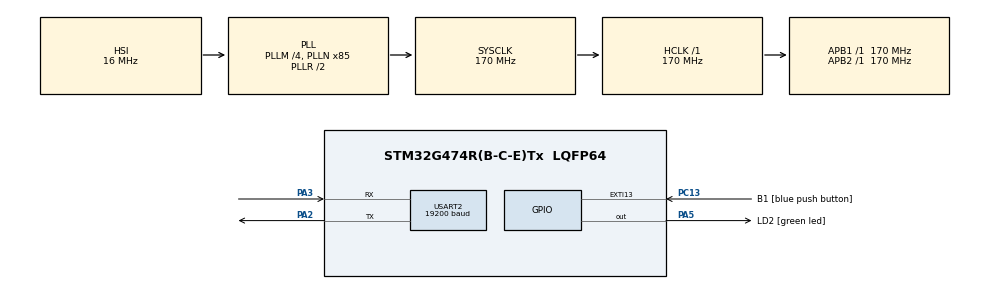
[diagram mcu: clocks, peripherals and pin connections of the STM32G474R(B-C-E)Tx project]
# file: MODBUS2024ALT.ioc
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Dma.Request0=USART2_TX
Dma.Request1=USART2_RX
Dma.USART2_RX.1.Direction=DMA_PERIPH_TO_MEMORY
Dma.USART2_RX.1.EventEnable=DISABLE
Dma.USART2_RX.1.Instance=DMA1_Channel2
Dma.USART2_RX.1.MemDataAlignment=DMA_MDATAALIGN_BYTE
Dma.USART2_RX.1.MemInc=DMA_MINC_ENABLE
Dma.USART2_RX.1.Mode=DMA_NORMAL
Dma.USART2_RX.1.PeriphDataAlignment=DMA_PDATAALIGN_BYTE
Dma.USART2_RX.1.PeriphInc=DMA_PINC_DISABLE
Dma.USART2_RX.1.Polarity=HAL_DMAMUX_REQ_GEN_RISING
Dma.USART2_RX.1.Priority=DMA_PRIORITY_LOW
Dma.USART2_RX.1.RequestNumber=1
Dma.USART2_RX.1.SignalID=NONE
Dma.USART2_RX.1.SyncEnable=DISABLE
Dma.USART2_RX.1.SyncPolarity=HAL_DMAMUX_SYNC_NO_EVENT
Dma.USART2_RX.1.SyncRequestNumber=1
Dma.USART2_RX.1.SyncSignalID=NONE
Dma.USART2_TX.0.Direction=DMA_MEMORY_TO_PERIPH
Dma.USART2_TX.0.EventEnable=DISABLE
Dma.USART2_TX.0.Instance=DMA1_Channel1
Dma.USART2_TX.0.MemDataAlignment=DMA_MDATAALIGN_BYTE
Dma.USART2_TX.0.MemInc=DMA_MINC_ENABLE
Dma.USART2_TX.0.Mode=DMA_NORMAL
Dma.USART2_TX.0.PeriphDataAlignment=DMA_PDATAALIGN_BYTE
Dma.USART2_TX.0.PeriphInc=DMA_PINC_DISABLE
Dma.USART2_TX.0.Polarity=HAL_DMAMUX_REQ_GEN_RISING
Dma.USART2_TX.0.Priority=DMA_PRIORITY_LOW
Dma.USART2_TX.0.RequestNumber=1
Dma.USART2_TX.0.SignalID=NONE
Dma.USART2_TX.0.SyncEnable=DISABLE
Dma.USART2_TX.0.SyncPolarity=HAL_DMAMUX_SYNC_NO_EVENT
Dma.USART2_TX.0.SyncRequestNumber=1
Dma.USART2_TX.0.SyncSignalID=NONE
Mcu.Family=STM32G4
Mcu.Name=STM32G474R(B-C-E)Tx
Mcu.Package=LQFP64
NVIC.DMA1_Channel1_IRQn=true\:0\:0\:false\:false\:true\:false\:true\:true
NVIC.DMA1_Channel2_IRQn=true\:0\:0\:false\:false\:true\:false\:true\:true
NVIC.EXTI15_10_IRQn=true\:0\:0\:false\:false\:true\:true\:true\:true
NVIC.PriorityGroup=NVIC_PRIORITYGROUP_4
NVIC.TIM1_UP_TIM16_IRQn=true\:0\:0\:false\:false\:true\:true\:true\:true
NVIC.TIM2_IRQn=true\:0\:0\:false\:false\:true\:true\:true\:true
NVIC.USART2_IRQn=true\:0\:0\:false\:false\:true\:true\:true\:true
PA13.GPIO_Label=T_SWDIO
PA13.Mode=Serial_Wire
PA13.Signal=SYS_JTMS-SWDIO
PA14.GPIO_Label=T_SWCLK
PA14.Mode=Serial_Wire
PA14.Signal=SYS_JTCK-SWCLK
PA2.Mode=Asynchronous
PA2.Signal=USART2_TX
PA3.Mode=Asynchronous
PA3.Signal=USART2_RX
PA5.GPIO_Label=LD2 [green led]
PA5.Signal=GPIO_Output
PB3.GPIO_Label=T_SWO
PB3.Signal=SYS_JTDO-SWO
PC13.GPIO_Label=B1 [blue push button]
PC13.Signal=GPXTI13
PC14-OSC32_IN.Mode=LSE-External-Oscillator
PC14-OSC32_IN.Signal=RCC_OSC32_IN
PC15-OSC32_OUT.Mode=LSE-External-Oscillator
PC15-OSC32_OUT.Signal=RCC_OSC32_OUT
PF0-OSC_IN.Mode=HSE-External-Oscillator
PF0-OSC_IN.Signal=RCC_OSC_IN
PF1-OSC_OUT.Mode=HSE-External-Oscillator
PF1-OSC_OUT.Signal=RCC_OSC_OUT
ProjectManager.HeapSize=0x200
ProjectManager.StackSize=0x400
ProjectManager.TargetToolchain=STM32CubeIDE
RCC.ADC12Freq_Value=170000000
RCC.ADC345Freq_Value=170000000
RCC.AHBFreq_Value=170000000
RCC.APB1Freq_Value=170000000
RCC.APB1TimFreq_Value=170000000
RCC.APB2Freq_Value=170000000
RCC.APB2TimFreq_Value=170000000
RCC.CortexFreq_Value=170000000
RCC.EXTERNAL_CLOCK_VALUE=12288000
RCC.HCLKFreq_Value=170000000
RCC.HSE_VALUE=24000000
RCC.HSI48_VALUE=48000000
RCC.HSI_VALUE=16000000
RCC.PLLM=RCC_PLLM_DIV4
RCC.PLLN=85
RCC.RTCClockSelection=RCC_RTCCLKSOURCE_LSE
RCC.SYSCLKFreq_VALUE=170000000
RCC.SYSCLKSource=RCC_SYSCLKSOURCE_PLLCLK
RCC.USBFreq_Value=170000000
RCC.VCOOutputFreq_Value=340000000
TIM16.PeriodNoDither=1145
TIM16.Prescaler=169
TIM2.PeriodNoDither=2000
TIM2.Prescaler=16999
USART2.BaudRate=19200
USART2.OneBitSampling=UART_ONE_BIT_SAMPLE_DISABLE
USART2.Parity=PARITY_EVEN
USART2.VirtualMode-Asynchronous=VM_ASYNC
USART2.WordLength=WORDLENGTH_9B
VP_SYS_VS_DBSignals.Mode=DisableDeadBatterySignals
VP_TIM16_VS_ClockSourceINT.Mode=Enable_Timer
VP_TIM16_VS_OPM.Mode=OPM_bit
VP_TIM2_VS_ClockSourceINT.Mode=Internal
board=NUCLEO-G474RE

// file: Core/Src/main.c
/* USER CODE BEGIN Header */
/**
  ******************************************************************************
  * @file           : main.c
  * @brief          : Main program body
  ******************************************************************************
  * @attention
  *
  * Copyright (c) 2024 STMicroelectronics.
  * All rights reserved.
  *
  * This software is licensed under terms that can be found in the LICENSE file
  * in the root directory of this software component.
  * If no LICENSE file comes with this software, it is provided AS-IS.
  *
  ******************************************************************************
  */
/* USER CODE END Header */
#include "main.h"

/* USER CODE BEGIN Includes */
#include "ModBusRTU.h"
/* USER CODE END Includes */

TIM_HandleTypeDef htim2;
TIM_HandleTypeDef htim16;

UART_HandleTypeDef huart2;
DMA_HandleTypeDef hdma_usart2_tx;
DMA_HandleTypeDef hdma_usart2_rx;

/* USER CODE BEGIN PV */
ModbusHandleTypedef hmodbus;
u16u8_t registerFrame[200];
float shelvePos[5]; // position for each shelve
float Goal; // setPosition / goalPosition

uint16_t orderPick; // temporary shelve order
uint16_t orderPlace;
uint16_t pick[5]; // shelve order array
uint16_t place[5];

uint8_t j; // jog counter
/* USER CODE END PV */

void SystemClock_Config(void);
static void MX_GPIO_Init(void);
static void MX_DMA_Init(void);
static void MX_USART2_UART_Init(void);
static void MX_TIM16_Init(void);
static void MX_TIM2_Init(void);
/* USER CODE BEGIN PFP */
void RoutineUpdate(void);
void MoveToGoal(void);
/* USER CODE END PFP */

int main(void)
{

  /* MCU Configuration--------------------------------------------------------*/

  /* Reset of all peripherals, Initializes the Flash interface and the Systick. */
  HAL_Init();

  /* Configure the system clock */
  SystemClock_Config();

  /* Initialize all configured peripherals */
  MX_GPIO_Init();
  MX_DMA_Init();
  MX_USART2_UART_Init();
  MX_TIM16_Init();
  MX_TIM2_Init();
  /* USER CODE BEGIN 2 */
  hmodbus.huart = &huart2;
  hmodbus.htim = &htim16;
  hmodbus.slaveAddress = 0x15;
  hmodbus.RegisterSize = 200;
  Modbus_init(&hmodbus, registerFrame);
  HAL_TIM_Base_Start_IT(&htim2);
  shelvePos[0] = 110.1; // actual position (mm)
  shelvePos[1] = 260;
  shelvePos[2] = 310;
  shelvePos[3] = 460;
  shelvePos[4] = 610;
  /* USER CODE END 2 */

  /* Infinite loop */
  while (1)
  {

    /* USER CODE BEGIN 3 */
	  Modbus_Protocal_Worker();
	  RoutineUpdate(); // turn into variable
  }
  /* USER CODE END 3 */
}

void SystemClock_Config(void)
{
  RCC_OscInitTypeDef RCC_OscInitStruct = {0};
  RCC_ClkInitTypeDef RCC_ClkInitStruct = {0};

  /** Configure the main internal regulator output voltage
  */
  HAL_PWREx_ControlVoltageScaling(PWR_REGULATOR_VOLTAGE_SCALE1_BOOST);

  /** Initializes the RCC Oscillators according to the specified parameters
  * in the RCC_OscInitTypeDef structure.
  */
  RCC_OscInitStruct.OscillatorType = RCC_OSCILLATORTYPE_HSI;
  RCC_OscInitStruct.HSIState = RCC_HSI_ON;
  RCC_OscInitStruct.HSICalibrationValue = RCC_HSICALIBRATION_DEFAULT;
  RCC_OscInitStruct.PLL.PLLState = RCC_PLL_ON;
  RCC_OscInitStruct.PLL.PLLSource = RCC_PLLSOURCE_HSI;
  RCC_OscInitStruct.PLL.PLLM = RCC_PLLM_DIV4;
  RCC_OscInitStruct.PLL.PLLN = 85;
  RCC_OscInitStruct.PLL.PLLP = RCC_PLLP_DIV2;
  RCC_OscInitStruct.PLL.PLLQ = RCC_PLLQ_DIV2;
  RCC_OscInitStruct.PLL.PLLR = RCC_PLLR_DIV2;
  if (HAL_RCC_OscConfig(&RCC_OscInitStruct) != HAL_OK)
  {
    Error_Handler();
  }

  /** Initializes the CPU, AHB and APB buses clocks
  */
  RCC_ClkInitStruct.ClockType = RCC_CLOCKTYPE_HCLK|RCC_CLOCKTYPE_SYSCLK
                              |RCC_CLOCKTYPE_PCLK1|RCC_CLOCKTYPE_PCLK2;
  RCC_ClkInitStruct.SYSCLKSource = RCC_SYSCLKSOURCE_PLLCLK;
  RCC_ClkInitStruct.AHBCLKDivider = RCC_SYSCLK_DIV1;
  RCC_ClkInitStruct.APB1CLKDivider = RCC_HCLK_DIV1;
  RCC_ClkInitStruct.APB2CLKDivider = RCC_HCLK_DIV1;

  if (HAL_RCC_ClockConfig(&RCC_ClkInitStruct, FLASH_LATENCY_4) != HAL_OK)
  {
    Error_Handler();
  }
}

static void MX_TIM2_Init(void)
{

  TIM_ClockConfigTypeDef sClockSourceConfig = {0};
  TIM_MasterConfigTypeDef sMasterConfig = {0};

  htim2.Instance = TIM2;
  htim2.Init.Prescaler = 16999;
  htim2.Init.CounterMode = TIM_COUNTERMODE_UP;
  htim2.Init.Period = 2000;
  htim2.Init.ClockDivision = TIM_CLOCKDIVISION_DIV1;
  htim2.Init.AutoReloadPreload = TIM_AUTORELOAD_PRELOAD_DISABLE;
  if (HAL_TIM_Base_Init(&htim2) != HAL_OK)
  {
    Error_Handler();
  }
  sClockSourceConfig.ClockSource = TIM_CLOCKSOURCE_INTERNAL;
  if (HAL_TIM_ConfigClockSource(&htim2, &sClockSourceConfig) != HAL_OK)
  {
    Error_Handler();
  }
  sMasterConfig.MasterOutputTrigger = TIM_TRGO_RESET;
  sMasterConfig.MasterSlaveMode = TIM_MASTERSLAVEMODE_DISABLE;
  if (HAL_TIMEx_MasterConfigSynchronization(&htim2, &sMasterConfig) != HAL_OK)
  {
    Error_Handler();
  }

}

static void MX_TIM16_Init(void)
{

  htim16.Instance = TIM16;
  htim16.Init.Prescaler = 169;
  htim16.Init.CounterMode = TIM_COUNTERMODE_UP;
  htim16.Init.Period = 1145;
  htim16.Init.ClockDivision = TIM_CLOCKDIVISION_DIV1;
  htim16.Init.RepetitionCounter = 0;
  htim16.Init.AutoReloadPreload = TIM_AUTORELOAD_PRELOAD_DISABLE;
  if (HAL_TIM_Base_Init(&htim16) != HAL_OK)
  {
    Error_Handler();
  }
  if (HAL_TIM_OnePulse_Init(&htim16, TIM_OPMODE_SINGLE) != HAL_OK)
  {
    Error_Handler();
  }

}

static void MX_USART2_UART_Init(void)
{

  huart2.Instance = USART2;
  huart2.Init.BaudRate = 19200;
  huart2.Init.WordLength = UART_WORDLENGTH_9B;
  huart2.Init.StopBits = UART_STOPBITS_1;
  huart2.Init.Parity = UART_PARITY_EVEN;
  huart2.Init.Mode = UART_MODE_TX_RX;
  huart2.Init.HwFlowCtl = UART_HWCONTROL_NONE;
  huart2.Init.OverSampling = UART_OVERSAMPLING_16;
  huart2.Init.OneBitSampling = UART_ONE_BIT_SAMPLE_DISABLE;
  huart2.Init.ClockPrescaler = UART_PRESCALER_DIV1;
  huart2.AdvancedInit.AdvFeatureInit = UART_ADVFEATURE_NO_INIT;
  if (HAL_UART_Init(&huart2) != HAL_OK)
  {
    Error_Handler();
  }
  if (HAL_UARTEx_SetTxFifoThreshold(&huart2, UART_TXFIFO_THRESHOLD_1_8) != HAL_OK)
  {
    Error_Handler();
  }
  if (HAL_UARTEx_SetRxFifoThreshold(&huart2, UART_RXFIFO_THRESHOLD_1_8) != HAL_OK)
  {
    Error_Handler();
  }
  if (HAL_UARTEx_DisableFifoMode(&huart2) != HAL_OK)
  {
    Error_Handler();
  }

}

static void MX_DMA_Init(void)
{

  /* DMA controller clock enable */
  __HAL_RCC_DMAMUX1_CLK_ENABLE();
  __HAL_RCC_DMA1_CLK_ENABLE();

  /* DMA interrupt init */
  /* DMA1_Channel1_IRQn interrupt configuration */
  HAL_NVIC_SetPriority(DMA1_Channel1_IRQn, 0, 0);
  HAL_NVIC_EnableIRQ(DMA1_Channel1_IRQn);
  /* DMA1_Channel2_IRQn interrupt configuration */
  HAL_NVIC_SetPriority(DMA1_Channel2_IRQn, 0, 0);
  HAL_NVIC_EnableIRQ(DMA1_Channel2_IRQn);

}

static void MX_GPIO_Init(void)
{
  GPIO_InitTypeDef GPIO_InitStruct = {0};

  /* GPIO Ports Clock Enable */
  __HAL_RCC_GPIOC_CLK_ENABLE();
  __HAL_RCC_GPIOF_CLK_ENABLE();
  __HAL_RCC_GPIOA_CLK_ENABLE();
  __HAL_RCC_GPIOB_CLK_ENABLE();

  /*Configure GPIO pin Output Level */
  HAL_GPIO_WritePin(LD2_GPIO_Port, LD2_Pin, GPIO_PIN_RESET);

  /*Configure GPIO pin : B1_Pin */
  GPIO_InitStruct.Pin = B1_Pin;
  GPIO_InitStruct.Mode = GPIO_MODE_IT_RISING;
  GPIO_InitStruct.Pull = GPIO_NOPULL;
  HAL_GPIO_Init(B1_GPIO_Port, &GPIO_InitStruct);

  /*Configure GPIO pin : LD2_Pin */
  GPIO_InitStruct.Pin = LD2_Pin;
  GPIO_InitStruct.Mode = GPIO_MODE_OUTPUT_PP;
  GPIO_InitStruct.Pull = GPIO_NOPULL;
  GPIO_InitStruct.Speed = GPIO_SPEED_FREQ_LOW;
  HAL_GPIO_Init(LD2_GPIO_Port, &GPIO_InitStruct);

  /* EXTI interrupt init*/
  HAL_NVIC_SetPriority(EXTI15_10_IRQn, 0, 0);
  HAL_NVIC_EnableIRQ(EXTI15_10_IRQn);

}

/* USER CODE BEGIN 4 */
void HAL_TIM_PeriodElapsedCallback(TIM_HandleTypeDef *htim)
{
	if(htim == &htim2)
	{
		if((registerFrame[0x00].U16) == 18537) // Heartbeat
		{
			registerFrame[0x00].U16 = 22881;
		}
	}
}
void RoutineUpdate(void) // manual vacuum , manual gripper , set shelve , home , point mode
{

///// Vacuum ////////////////
	if((registerFrame[0x02].U16) == 1) // vacuum toggled
	{
		// Vacuum on
	}
	else if((registerFrame[0x02].U16) == 0)
	{
		// Vacuum off
	}
//
///// Gripper ////////////////
	if((registerFrame[0x03].U16) == 1) // gripper toggled
	{
		// Gripper forward
	}
	else if((registerFrame[0x03].U16) == 0)
	{
		// Gripper Backward
	}
//
///// Base System Status ////////////////

	if((registerFrame[0x01].U16) == 1) //Set Shelves button pressed
	{
		(registerFrame[0x01].U16) = 0; //reset status
		(registerFrame[0x10].U16) = 1; // Z-setting shelve
		// 1st -> 5th shelve position // unit : mm/10
		(registerFrame[0x23].U16) = shelvePos[0]*10;
		(registerFrame[0x24].U16) = shelvePos[1]*10;
		(registerFrame[0x25].U16) = shelvePos[2]*10; // Q : what variable is shelve position
		(registerFrame[0x26].U16) = shelvePos[3]*10;
		(registerFrame[0x27].U16) = shelvePos[4]*10;

		(registerFrame[0x10].U16) = 1; // Z-finished
	}
//
	if((registerFrame[0x01].U16 == 2)) //home
	{
		(registerFrame[0x01].U16) = 0; //reset status
		(registerFrame[0x10].U16) = 2; //Z-home

		Goal = shelvePos[0]; // set goal to home
		MoveToGoal();

		(registerFrame[0x10].U16) = 0; //Z-finished
	}
//
	if((registerFrame[0x01].U16 == 4)) // read Jog
	{
		(registerFrame[0x01].U16) = 0; //reset status

		orderPick = (registerFrame[0x21].U16);
		orderPlace = (registerFrame[0x22].U16);
		// <code for JogMode>
		j = 0;

		for(uint16_t i = 10000;i>=1;i/=10) // to string
		{
			pick[j] = orderPick/i; // use this for pick
			place[j] = orderPlace/i; // use this for place
			orderPick = orderPick%i;
			orderPlace = orderPlace%i;
			j++;
		}
	}
	if(j > 0) //  run Jog
	{
		if(((registerFrame[0x10].U16) == 8) || (((registerFrame[0x10].U16) == 0) && (j == 5))) // prev mode: place, do pick
		{
			(registerFrame[0x10].U16) = 4; // Z-go pick
			Goal = pick[5-j];
			MoveToGoal();
			// <code Gripper Forward>
			(registerFrame[0x03].U16) = 1;// likely to show no change in base system
			// <code Vacuum On>
			(registerFrame[0x02].U16) = 1;
			// <code Gripper Backward>
			(registerFrame[0x03].U16) = 0;
		}
		else if((registerFrame[0x10].U16) == 4) // prev mode: pick, do place
		{
			(registerFrame[0x10].U16) = 8; // Z-go place
			Goal = place[5-j];
			MoveToGoal();
			// <code Gripper Forward>
			(registerFrame[0x03].U16) = 1;// likely to show no change in base system
			// <code Vacuum Off>
			(registerFrame[0x02].U16) = 0;
			// <code Gripper Backward>
			(registerFrame[0x03].U16) = 0;
			j--;
		}
		if(j == 0){
			(registerFrame[0x10].U16 = 0);
		}

	}
//
	if((registerFrame[0x01].U16) == 8) // read & run Point
	{
		(registerFrame[0x01].U16) = 0; //reset status
		(registerFrame[0x10].U16) = 16; // Z-go point

		Goal = (registerFrame[0x30].U16)/10;
		MoveToGoal();

		(registerFrame[0x10].U16) = 0; // Z-finished
	}
}

void MoveToGoal(void)
{
	// run to "Goal"
	//HAL_Delay(1000);
}

/* USER CODE END 4 */

void Error_Handler(void)
{
  __disable_irq();
  while (1)
  {
  }
}
